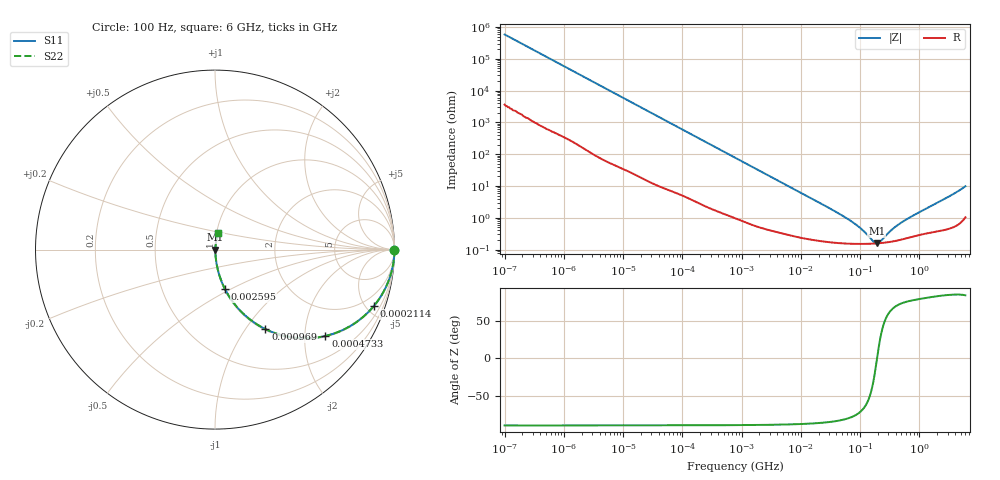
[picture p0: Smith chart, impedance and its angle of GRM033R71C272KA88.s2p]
!Murata Part Number: GRM033R71C272KA88
!These Parameters are Measured in Series Mode Connection
!Data Generated on Mar 30, 2021
!  o--ll--o
!Port1  Port2
!  o------o
!Operation Temp=25[degC], DC Bias Voltage=0[V]
!Freq. Start=100[Hz] Stop=6[GHz] 401[Steps]
# Hz S RI R 50
!Freq.(Hz) S11(Real) S11(Imag) S21(Real) S21(Imag) S12(Real) S12(Imag) S22(Real) S22(Imag)
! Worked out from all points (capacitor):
!   401 points, 100 Hz to 6 GHz, reference 50 ohm
!   read as one part in series: C = 2.74 nF near 109 Hz
!   lowest |Z| = 157 mohm at 190.9 MHz (marker M1)
!   series resonance near 193.8 MHz, so ESL is about 250 pH
!   S11 on the Smith chart (normalised r, x): 100 Hz: open; 211.4 kHz: 1.05, -5.65; 473.3 kHz: 1.03, -2.53; 969 kHz: 1.02, -1.24; 2.595 MHz: 1.01, -0.47; 6 GHz: 1.02, +0.19
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100  1 -0.000173  1.1e-06 0.000173  1.1e-06 0.000173  1 -0.000173
2008  1 -0.00343  3.11e-05 0.00343  3.11e-05 0.00343  1 -0.00343
40335  0.9949 -0.0678  0.00507 0.0678  0.00507 0.0678  0.9949 -0.0678
94437  0.9741 -0.1546  0.0259 0.1546  0.0259 0.1546  0.9741 -0.1546
211427  0.8863 -0.3129  0.1137 0.3129  0.1137 0.3129  0.8863 -0.3129
316350  0.7791 -0.41  0.2209 0.41  0.2209 0.41  0.7791 -0.41
473344  0.6147 -0.4812  0.3853 0.4812  0.3853 0.4812  0.6147 -0.4812
774597  0.3776 -0.4786  0.6224 0.4786  0.6224 0.4786  0.3776 -0.4786
968953  0.2813 -0.4431  0.7187 0.4431  0.7187 0.4431  0.2813 -0.4431
1516199  0.1407 -0.3403  0.8593 0.3403  0.8593 0.3403  0.1407 -0.3403
2594782  0.0554 -0.2197  0.9446 0.2197  0.9446 0.2197  0.0554 -0.2197
5809218  0.0138 -0.1033  0.9862 0.1033  0.9862 0.1033  0.0138 -0.1033
1.555665e7  0.00356 -0.0392  0.9964 0.0392  0.9964 0.0392  0.00356 -0.0392
7.129496e7  0.00157 -0.00756  0.9984 0.00756  0.9984 0.00756  0.00157 -0.00756
1.066761e8  0.00152 -0.00407  0.9985 0.00407  0.9985 0.00407  0.00152 -0.00407
1.669249e8  0.00154 -0.000961  0.9985 0.000961  0.9985 0.000961  0.00154 -0.000961
1.909225e8  0.00156 -9.57e-05  0.9984 9.57e-05  0.9984 9.57e-05  0.00156 -9.57e-05
2.183701e8  0.00159 0.000764  0.9984 -0.000764  0.9984 -0.000764  0.00159 0.000764
3.124326e8  0.00173 0.00314  0.9983 -0.00314  0.9983 -0.00314  0.00173 0.00314
4.274388e8  0.00195 0.00547  0.998 -0.00547  0.998 -0.00547  0.00195 0.00547
6.11557e8  0.00233 0.00866  0.9977 -0.00866  0.9977 -0.00866  0.00233 0.00866
6e9  0.0194 0.0945  0.9806 -0.0945  0.9806 -0.0945  0.0194 0.0945
